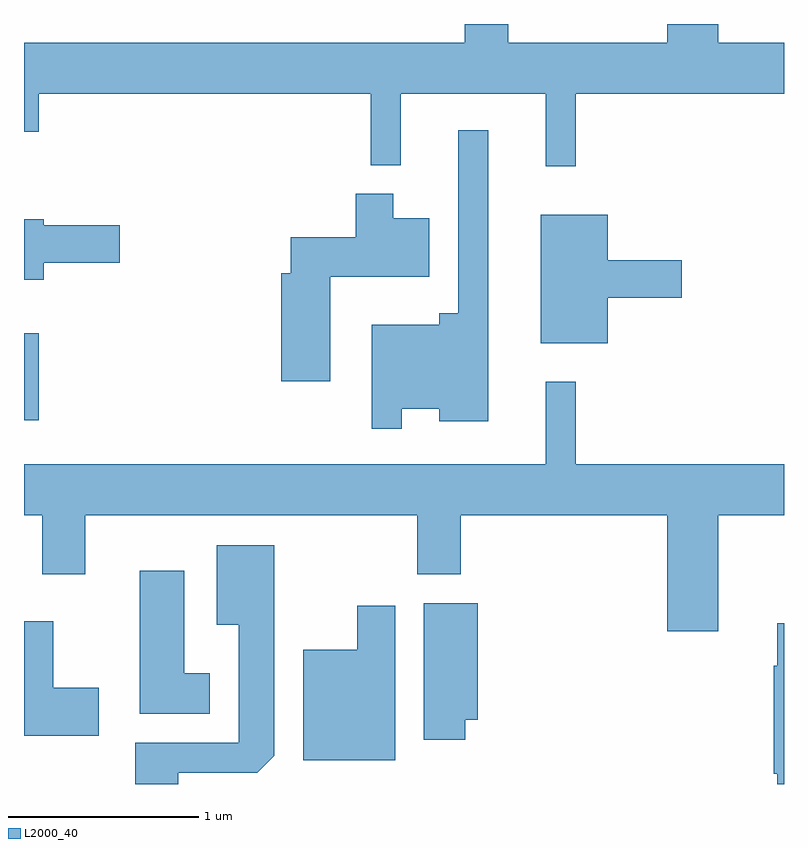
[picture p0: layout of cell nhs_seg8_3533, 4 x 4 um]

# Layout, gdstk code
import gdstk
lib = gdstk.Library(unit=1e-6, precision=1e-09)
def R(c, l, rs):  # rectangles x0, y0, x1, y1
    for r in rs: c.add(gdstk.rectangle(r[:2], r[2:], *l))
def P(c, l, *ps):  # polygons
    for p in ps: c.add(gdstk.Polygon(p, *l))
L2000_40 = (2000, 40)

nhs_seg8_3533 = lib.new_cell('nhs_seg8_3533')
R(nhs_seg8_3533, L2000_40, [(291.611,1830.256,291.689,1830.714)])
P(nhs_seg8_3533, L2000_40, [(294.514,1831.976),(295.611,1831.976),(295.611,1832.244),(295.264,1832.244),(295.264,1832.342),(294.996,1832.342),(294.996,1832.244),(294.159,1832.244),(294.159,1832.342),(293.931,1832.342),(293.931,1832.244),(291.611,1832.244),(291.611,1831.776),(291.689,1831.776),(291.689,1831.976),(293.436,1831.976),(293.436,1831.598),(293.594,1831.598),(293.594,1831.976),(294.356,1831.976),(294.356,1831.593),(294.514,1831.593)],
  [(293.599,1830.316),(293.796,1830.316),(293.796,1830.251),(294.054,1830.251),(294.054,1831.783),(293.896,1831.783),(293.896,1830.819),(293.796,1830.819),(293.796,1830.759),(293.441,1830.759),(293.441,1830.213),(293.599,1830.213)],
  [(293.224,1831.011),(293.744,1831.011),(293.744,1831.319),(293.554,1831.319),(293.554,1831.449),(293.356,1831.449),(293.356,1831.219),(293.016,1831.219),(293.016,1831.029),(292.966,1831.029),(292.966,1830.461),(293.224,1830.461)],
  [(294.684,1830.901),(295.074,1830.901),(295.074,1831.099),(294.684,1831.099),(294.684,1831.339),(294.331,1831.339),(294.331,1830.661),(294.684,1830.661)],
  [(291.714,1831.086),(292.114,1831.086),(292.114,1831.284),(291.714,1831.284),(291.714,1831.314),(291.611,1831.314),(291.611,1830.996),(291.714,1830.996)],
  [(295.264,1829.756),(295.611,1829.756),(295.611,1830.024),(294.514,1830.024),(294.514,1830.458),(294.356,1830.458),(294.356,1830.024),(291.611,1830.024),(291.611,1829.756),(291.706,1829.756),(291.706,1829.446),(291.934,1829.446),(291.934,1829.756),(293.681,1829.756),(293.681,1829.446),(293.909,1829.446),(293.909,1829.756),(294.996,1829.756),(294.996,1829.146),(295.264,1829.146)],
  [(292.424,1828.401),(292.839,1828.401),(292.929,1828.492),(292.929,1829.599),(292.626,1829.599),(292.626,1829.181),(292.741,1829.181),(292.741,1828.559),(292.196,1828.559),(292.196,1828.342),(292.424,1828.342)],
  [(292.589,1828.924),(292.454,1828.924),(292.454,1829.464),(292.221,1829.464),(292.221,1828.711),(292.589,1828.711)],
  [(293.934,1828.681),(293.999,1828.681),(293.999,1829.294),(293.716,1829.294),(293.716,1828.576),(293.934,1828.576)],
  [(293.564,1829.279),(293.366,1829.279),(293.366,1829.049),(293.081,1829.049),(293.081,1828.466),(293.564,1828.466)],
  [(292.004,1828.849),(291.764,1828.849),(291.764,1829.199),(291.611,1829.199),(291.611,1828.596),(292.004,1828.596)],
  [(295.611,1829.189),(295.576,1829.189),(295.576,1828.964),(295.556,1828.964),(295.556,1828.396),(295.576,1828.396),(295.576,1828.342),(295.611,1828.342)])

lib.write_gds('nhs_seg8_3533.gds')
